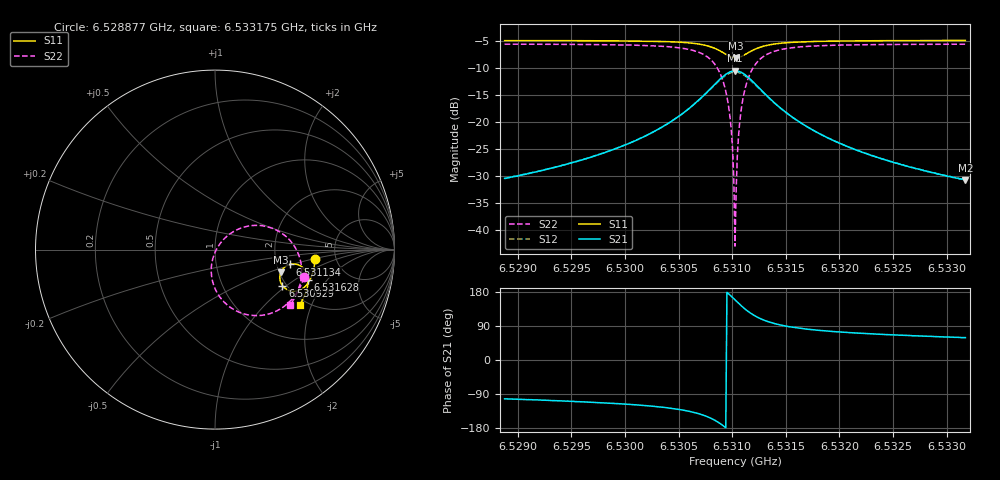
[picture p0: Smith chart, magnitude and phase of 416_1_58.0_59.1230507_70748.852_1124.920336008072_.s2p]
#  HZ  S  RI  R  50.00
! Rohde & Schwarz Vector Network Analyzer
! Rohde-Schwarz,ZNB20-2Port,1311601062101988,3.16
! Created: UTC 3/21/2024, 1:08:56 AM
! freq[Hz]  re:S11  im:S11  re:S21  im:S21  re:S12  im:S12  re:S22  im:S22
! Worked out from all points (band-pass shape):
!   401 points, 6.528877 GHz to 6.533175 GHz, reference 50 ohm
!   highest |S21| = -10.58 dB at 6.531026 GHz (marker M1); lowest = -30.7 dB at 6.533175 GHz (marker M2)
!   |S21| within 3 dB of the highest: 6.530813 GHz to 6.531242 GHz (429.2 kHz wide, 0.00657 % of centre)
!   lowest |S11| = -8.2 dB at 6.531037 GHz (marker M3), VSWR 2.27, Z = 102 - j30.3 ohm
!   |S11| at or under -10 dB: nowhere
!   |S22| runs from -42.9 to -5.7 dB; largest |S21 - S12| = 0.011
!   S11 on the Smith chart (normalised r, x): 6.528877 GHz: 3.47, -0.53; 6.530929 GHz: 1.90, -0.93; 6.531134 GHz: 2.36, -0.48; 6.531628 GHz: 2.71, -1.29; 6.533175 GHz: 1.82, -1.65
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6.5288767e9  0.5587 -0.0521  -0.00653 -0.0293  -0.00703 -0.0292  0.4968 -0.1552
6.5295967e9  0.5489 -0.1115  -0.0155 -0.0418  -0.0165 -0.0415  0.4674 -0.2212
6.5303168e9  0.5213 -0.1815  -0.0477 -0.0718  -0.0497 -0.0705  0.3892 -0.3131
6.5307466e9  0.4528 -0.2312  -0.1513 -0.0975  -0.1538 -0.0917  0.1894 -0.3643
6.5308541e9  0.4095 -0.2268  -0.2187 -0.0727  -0.2182 -0.0639  0.0742 -0.3134
6.5309293e9  0.3758 -0.2009  -0.2686 -0.0169  -0.2636 -0.00745  -0.00243 -0.2112
6.5309723e9  0.3633 -0.1742  -0.2845 0.0341  -0.2764 0.0418  -0.0209 -0.124
6.5309938e9  0.3609 -0.1586  -0.2854 0.063  -0.2761 0.0692  -0.0179 -0.0761
6.5310046e9  0.361 -0.1504  -0.2838 0.0779  -0.274 0.0832  -0.0127 -0.0519
6.5310153e9  0.3621 -0.1424  -0.2806 0.0924  -0.2706 0.097  -0.00531 -0.0282
6.5310261e9  0.364 -0.1345  -0.276 0.1069  -0.2657 0.1105  0.00464 -0.00541
6.5310368e9  0.3666 -0.1265  -0.2699 0.1209  -0.2597 0.1234  0.0168 0.0165
6.5310475e9  0.3703 -0.1192  -0.2625 0.134  -0.2525 0.1356  0.0309 0.0369
6.5310583e9  0.3746 -0.1123  -0.2539 0.1462  -0.2441 0.147  0.0468 0.0556
6.5310798e9  0.385 -0.1001  -0.2338 0.1674  -0.2248 0.1668  0.0831 0.0877
6.5311335e9  0.417 -0.0825  -0.1757 0.199  -0.1695 0.1964  0.1844 0.1308
6.531198e9  0.4532 -0.0817  -0.1116 0.2034  -0.1081 0.2005  0.2926 0.1272
6.5312947e9  0.4891 -0.0998  -0.049 0.179  -0.0474 0.1772  0.3959 0.0732
6.5316279e9  0.519 -0.167  0.0107 0.0989  0.0117 0.0986  0.4816 -0.0934
6.5317461e9  0.5188 -0.184  0.0147 0.0832  0.0158 0.083  0.4829 -0.1284
6.5324661e9  0.499 -0.2559  0.0171 0.0398  0.0179 0.0397  0.4555 -0.2445
6.5331754e9  0.4713 -0.3081  0.015 0.025  0.0155 0.0247  0.4203 -0.3062
